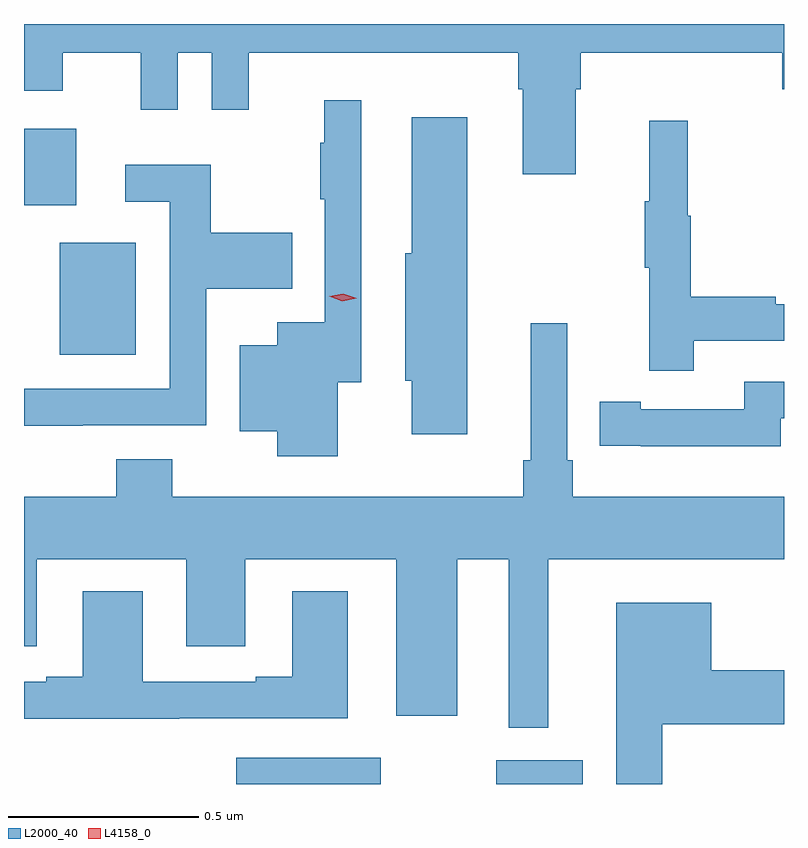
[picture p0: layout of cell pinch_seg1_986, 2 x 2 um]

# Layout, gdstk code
import gdstk
lib = gdstk.Library(unit=1e-6, precision=1e-09)
def R(c, l, rs):  # rectangles x0, y0, x1, y1
    for r in rs: c.add(gdstk.rectangle(r[:2], r[2:], *l))
def P(c, l, *ps):  # polygons
    for p in ps: c.add(gdstk.Polygon(p, *l))
L2000_40 = (2000, 40)
L4158_0 = (4158, 0)

pinch_seg1_986 = lib.new_cell('pinch_seg1_986')
R(pinch_seg1_986, L2000_40, [(198.644,508.516,199.024,508.585), (199.328,508.516,199.555,508.579), (198.179,509.645,198.379,509.941), (198.085,510.039,198.223,510.241)])
P(pinch_seg1_986, L2000_40, [(199.537,510.344),(199.55,510.344),(199.55,510.44),(200.081,510.44),(200.081,510.344),(200.085,510.344),(200.085,510.516),(198.085,510.516),(198.085,510.341),(198.187,510.341),(198.187,510.44),(198.392,510.44),(198.392,510.291),(198.489,510.291),(198.489,510.44),(198.579,510.44),(198.579,510.291),(198.677,510.291),(198.677,510.44),(199.385,510.44),(199.385,510.344),(199.397,510.344),(199.397,510.12),(199.537,510.12)],
  [(198.91,509.573),(198.972,509.573),(198.972,510.013),(198.973,510.013),(198.973,510.316),(198.875,510.316),(198.875,510.203),(198.864,510.203),(198.864,510.055),(198.876,510.055),(198.876,509.731),(198.752,509.731),(198.752,509.671),(198.653,509.671),(198.653,509.444),(198.752,509.444),(198.752,509.379),(198.91,509.379)],
  [(199.252,510.271),(199.106,510.271),(199.106,509.913),(199.088,509.913),(199.088,509.577),(199.106,509.577),(199.106,509.436),(199.252,509.436)],
  [(199.847,509.682),(200.085,509.682),(200.085,509.778),(200.063,509.778),(200.063,509.798),(199.84,509.798),(199.84,510.012),(199.832,510.012),(199.832,510.262),(199.73,510.262),(199.73,510.049),(199.719,510.049),(199.719,509.875),(199.73,509.875),(199.73,509.604),(199.847,509.604)],
  [(198.239,509.46),(198.564,509.46),(198.564,509.819),(198.791,509.819),(198.791,509.967),(198.577,509.967),(198.577,510.145),(198.351,510.145),(198.351,510.048),(198.468,510.048),(198.468,509.556),(198.085,509.556),(198.085,509.459),(198.239,509.459)],
  [(199.465,509.108),(200.085,509.108),(200.085,509.272),(199.529,509.272),(199.529,509.368),(199.515,509.368),(199.515,509.728),(199.418,509.728),(199.418,509.368),(199.399,509.368),(199.399,509.272),(198.475,509.272),(198.475,509.371),(198.328,509.371),(198.328,509.272),(198.085,509.272),(198.085,508.878),(198.118,508.878),(198.118,509.108),(198.512,509.108),(198.512,508.878),(198.667,508.878),(198.667,509.108),(199.064,509.108),(199.064,508.695),(199.225,508.695),(199.225,509.108),(199.361,509.108),(199.361,508.664),(199.465,508.664)],
  [(200.076,509.478),(200.085,509.478),(200.085,509.574),(199.98,509.574),(199.98,509.502),(199.708,509.502),(199.708,509.522),(199.6,509.522),(199.6,509.406),(199.708,509.406),(199.708,509.405),(200.076,509.405)],
  [(198.493,508.689),(198.937,508.689),(198.937,509.023),(198.791,509.023),(198.791,508.798),(198.695,508.798),(198.695,508.785),(198.397,508.785),(198.397,509.023),(198.239,509.023),(198.239,508.798),(198.143,508.798),(198.143,508.785),(198.085,508.785),(198.085,508.688),(198.493,508.688)],
  [(199.765,508.673),(200.085,508.673),(200.085,508.815),(199.894,508.815),(199.894,508.993),(199.643,508.993),(199.643,508.516),(199.765,508.516)])
P(pinch_seg1_986, L4158_0, [(198.923,509.786),(198.888,509.799),(198.888,509.799),(198.888,509.799),(198.925,509.806),(198.96,509.794),(198.96,509.794),(198.96,509.794)])

lib.write_gds('pinch_seg1_986.gds')
